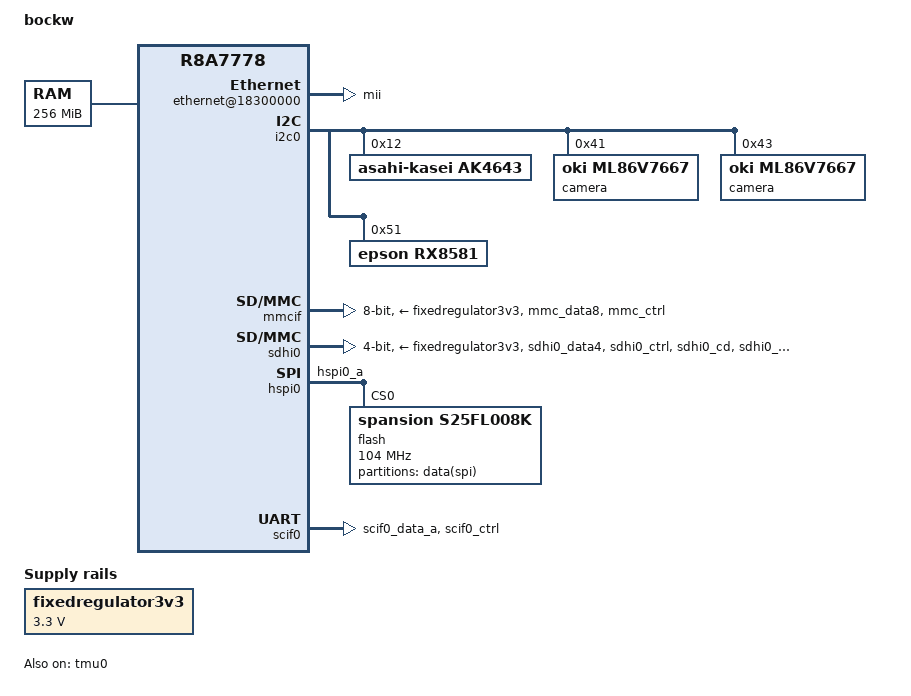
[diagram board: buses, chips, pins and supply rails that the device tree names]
// SPDX-License-Identifier: GPL-2.0
/*
 * Reference Device Tree Source for the Bock-W board
 *
 * Copyright (C) 2013  Renesas Solutions Corp.
 * Copyright (C) 2013  Kuninori Morimoto <kuninori.morimoto.gx@renesas.com>
 *
 * based on r8a7779
 *
 * Copyright (C) 2013 Renesas Solutions Corp.
 * Copyright (C) 2013 Simon Horman
 */

/dts-v1/;
#include "r8a7778.dtsi"
#include <dt-bindings/interrupt-controller/irq.h>
#include <dt-bindings/gpio/gpio.h>

/ {
	model = "bockw";
	compatible = "renesas,bockw", "renesas,r8a7778";

	aliases {
		serial0 = &scif0;
	};

	chosen {
		bootargs = "ignore_loglevel ip=dhcp root=/dev/nfs rw";
		stdout-path = "serial0:115200n8";
	};

	memory@60000000 {
		device_type = "memory";
		reg = <0x60000000 0x10000000>;
	};

	fixedregulator3v3: regulator-3v3 {
		compatible = "regulator-fixed";
		regulator-name = "fixed-3.3V";
		regulator-min-microvolt = <3300000>;
		regulator-max-microvolt = <3300000>;
		regulator-boot-on;
		regulator-always-on;
	};

	sound {
		compatible = "simple-audio-card";

		simple-audio-card,format = "left_j";
		simple-audio-card,bitclock-master = <&sndcodec>;
		simple-audio-card,frame-master = <&sndcodec>;

		sndcpu: simple-audio-card,cpu {
			sound-dai = <&rcar_sound>;
		};

		sndcodec: simple-audio-card,codec {
			sound-dai = <&ak4643>;
			system-clock-frequency = <11289600>;
		};
	};
};

&bsc {
	ethernet@18300000 {
		compatible = "smsc,lan9220", "smsc,lan9115";
		reg = <0x18300000 0x1000>;

		phy-mode = "mii";
		interrupt-parent = <&irqpin>;
		interrupts = <0 IRQ_TYPE_EDGE_FALLING>;
		reg-io-width = <4>;
		vddvario-supply = <&fixedregulator3v3>;
		vdd33a-supply = <&fixedregulator3v3>;
	};
};

&extal_clk {
	clock-frequency = <33333333>;
};

&i2c0 {
	status = "okay";

	ak4643: codec@12 {
		compatible = "asahi-kasei,ak4643";
		#sound-dai-cells = <0>;
		reg = <0x12>;
	};

	camera@41 {
		compatible = "oki,ml86v7667";
		reg = <0x41>;
	};

	camera@43 {
		compatible = "oki,ml86v7667";
		reg = <0x43>;
	};

	rx8581: rtc@51 {
		compatible = "epson,rx8581";
		reg = <0x51>;
	};
};

&mmcif {
	pinctrl-0 = <&mmc_pins>;
	pinctrl-names = "default";

	vmmc-supply = <&fixedregulator3v3>;
	bus-width = <8>;
	broken-cd;
	status = "okay";
};

&irqpin {
	status = "okay";
};

&tmu0 {
	status = "okay";
};

&pfc {
	pinctrl-0 = <&scif_clk_pins>;
	pinctrl-names = "default";

	scif0_pins: scif0 {
		groups = "scif0_data_a", "scif0_ctrl";
		function = "scif0";
	};

	scif_clk_pins: scif_clk {
		groups = "scif_clk";
		function = "scif_clk";
	};

	mmc_pins: mmc {
		groups = "mmc_data8", "mmc_ctrl";
		function = "mmc";
	};

	sdhi0_pins: sd0 {
		groups = "sdhi0_data4", "sdhi0_ctrl";
		function = "sdhi0";
	};
	sdhi0_pup_pins: sd0_pup {
		groups = "sdhi0_cd", "sdhi0_wp";
		function = "sdhi0";
		bias-pull-up;
	};

	hspi0_pins: hspi0 {
		groups = "hspi0_a";
		function = "hspi0";
	};

	usb0_pins: usb0 {
		groups = "usb0";
		function = "usb0";
	};

	usb1_pins: usb1 {
		groups = "usb1";
		function = "usb1";
	};

	vin0_pins: vin0 {
		groups = "vin0_data8", "vin0_clk";
		function = "vin0";
	};

	vin1_pins: vin1 {
		groups = "vin1_data8", "vin1_clk";
		function = "vin1";
	};
};

&rcar_sound {
	/* Single DAI */
	#sound-dai-cells = <0>;
};

&sdhi0 {
	pinctrl-0 = <&sdhi0_pins>, <&sdhi0_pup_pins>;
	pinctrl-names = "default";

	vmmc-supply = <&fixedregulator3v3>;
	bus-width = <4>;
	status = "okay";
	wp-gpios = <&gpio3 18 GPIO_ACTIVE_HIGH>;
};

&hspi0 {
	pinctrl-0 = <&hspi0_pins>;
	pinctrl-names = "default";
	status = "okay";

	flash: flash@0 {
		compatible = "spansion,s25fl008k", "jedec,spi-nor";
		reg = <0>;
		spi-max-frequency = <104000000>;
		m25p,fast-read;

		partitions {
			compatible = "fixed-partitions";
			#address-cells = <1>;
			#size-cells = <1>;

			partition@0 {
				label = "data(spi)";
				reg = <0x00000000 0x00100000>;
			};
		};
	};
};

&scif0 {
	pinctrl-0 = <&scif0_pins>;
	pinctrl-names = "default";

	uart-has-rtscts;
	status = "okay";
};

&scif_clk {
	clock-frequency = <14745600>;
};
